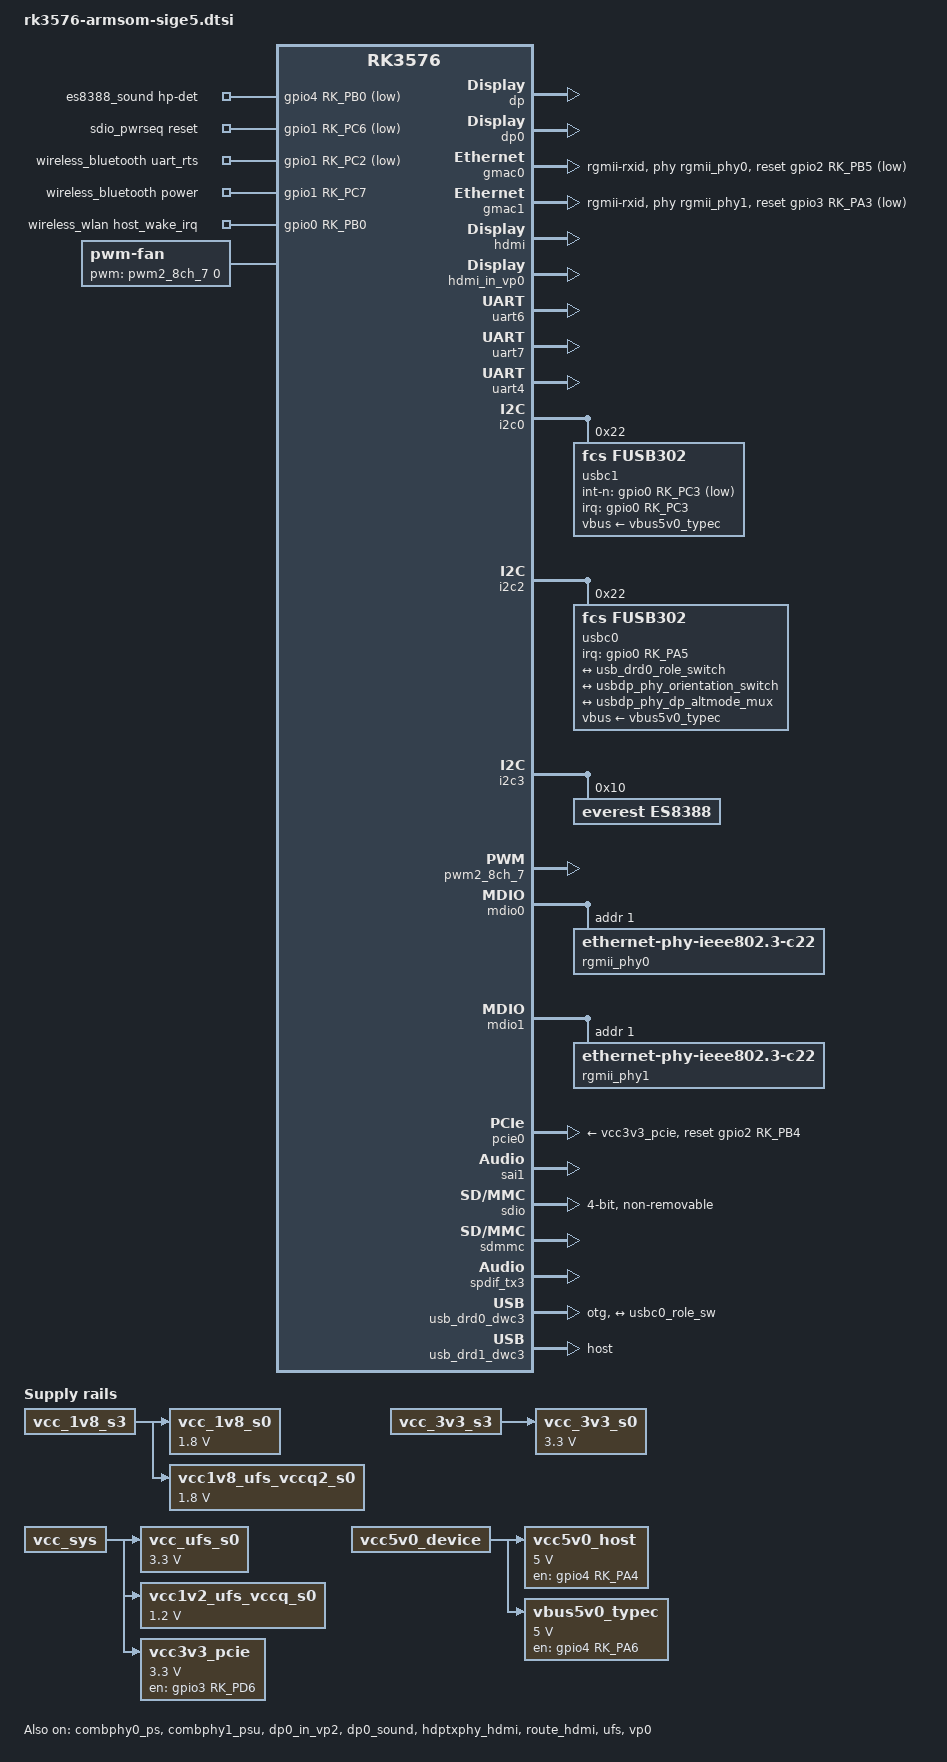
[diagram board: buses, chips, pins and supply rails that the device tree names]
// SPDX-License-Identifier: (GPL-2.0+ OR MIT)
/*
 * Copyright (c) 2024 Rockchip Electronics Co., Ltd.
 *
 */

#include <dt-bindings/usb/pd.h>
#include <dt-bindings/leds/common.h>
#include "rk3576.dtsi"
#include "rk3576-evb.dtsi"
#include "rk3576-rk806.dtsi"

/ {
	es8388_sound: es8388-sound {
		status = "okay";
		compatible = "rockchip,multicodecs-card";
		rockchip,card-name = "rockchip-es8388";
		hp-det-gpio = <&gpio4 RK_PB0 GPIO_ACTIVE_LOW>;
		// io-channels = <&saradc 3>;
		// io-channel-names = "adc-detect";
		// keyup-threshold-microvolt = <1800000>;
		// poll-interval = <100>;
		// spk-con-gpio = <&gpio2 RK_PB1 GPIO_ACTIVE_HIGH>;
		// hp-con-gpio = <&gpio3 RK_PD6 GPIO_ACTIVE_HIGH>;
		rockchip,pre-power-on-delay-ms = <30>;
		rockchip,post-power-down-delay-ms = <40>;
		rockchip,format = "i2s";
		rockchip,mclk-fs = <256>;
		rockchip,cpu = <&sai1>;
		rockchip,codec = <&es8388>;
		rockchip,audio-routing =
			"Headphone", "LOUT1",
			"Headphone", "ROUT1",
			"Speaker", "LOUT2",
			"Speaker", "ROUT2",
			"Headphone", "Headphone Power",
			"Headphone", "Headphone Power",
			"Speaker", "Speaker Power",
			"Speaker", "Speaker Power",
			"LINPUT1", "Main Mic",
			"LINPUT2", "Main Mic",
			"RINPUT1", "Headset Mic",
			"RINPUT2", "Headset Mic";
		pinctrl-names = "default";
		pinctrl-0 = <&hp_det>;
		play-pause-key {
			label = "playpause";
			linux,code = <KEY_PLAYPAUSE>;
			press-threshold-microvolt = <2000>;
		};
	};

	pdmics: dummy-codec {
		status = "disabled";
		compatible = "rockchip,dummy-codec";
		#sound-dai-cells = <0>;
	};

	pdm_mic_array: pdm-mic-array {
		status = "disabled";
		compatible = "simple-audio-card";
		simple-audio-card,name = "rockchip,pdm-mic-array";
		simple-audio-card,cpu {
			sound-dai = <&pdm1>;
		};
		simple-audio-card,codec {
			sound-dai = <&pdmics>;
		};
	};

	sdio_pwrseq: sdio-pwrseq {
		compatible = "mmc-pwrseq-simple";
		pinctrl-names = "default";
		pinctrl-0 = <&wifi_poweren_gpio>;

		/*
		 * On the module itself this is one of these (depending
		 * on the actual card populated):
		 * - SDIO_RESET_L_WL_REG_ON
		 * - PDN (power down when low)
		 */
		post-power-on-delay-ms = <200>;
		reset-gpios = <&gpio1 RK_PC6 GPIO_ACTIVE_LOW>;
		status = "okay";
	};

	vcc_1v8_s0: vcc-1v8-s0 {
		compatible = "regulator-fixed";
		regulator-name = "vcc_1v8_s0";
		regulator-boot-on;
		regulator-always-on;
		regulator-min-microvolt = <1800000>;
		regulator-max-microvolt = <1800000>;
		vin-supply = <&vcc_1v8_s3>;
	};

	vcc_3v3_s0: vcc-3v3-s0 {
		compatible = "regulator-fixed";
		regulator-name = "vcc_3v3_s0";
		regulator-boot-on;
		regulator-always-on;
		regulator-min-microvolt = <3300000>;
		regulator-max-microvolt = <3300000>;
		vin-supply = <&vcc_3v3_s3>;
	};

	vcc_ufs_s0: vcc-ufs-s0 {
		compatible = "regulator-fixed";
		regulator-name = "vcc_ufs_s0";
		regulator-boot-on;
		regulator-always-on;
		regulator-min-microvolt = <3300000>;
		regulator-max-microvolt = <3300000>;
		vin-supply = <&vcc_sys>;
	};

	vcc1v8_ufs_vccq2_s0: vcc1v8-ufs-vccq2-s0 {
		compatible = "regulator-fixed";
		regulator-name = "vcc1v8_ufs_vccq2_s0";
		regulator-boot-on;
		regulator-always-on;
		regulator-min-microvolt = <1800000>;
		regulator-max-microvolt = <1800000>;
		vin-supply = <&vcc_1v8_s3>;
	};

	vcc1v2_ufs_vccq_s0: vcc1v2-ufs-vccq-s0 {
		compatible = "regulator-fixed";
		regulator-name = "vcc1v2_ufs_vccq_s0";
		regulator-boot-on;
		regulator-always-on;
		regulator-min-microvolt = <1200000>;
		regulator-max-microvolt = <1200000>;
		vin-supply = <&vcc_sys>;
	};

	vcc3v3_pcie: gpio-regulator {
		compatible = "regulator-fixed";
		regulator-name = "vcc3v3_pcie";
		regulator-min-microvolt = <3300000>;
		regulator-max-microvolt = <3300000>;
		enable-active-high;
		gpio = <&gpio3 RK_PD6 GPIO_ACTIVE_HIGH>;
		startup-delay-us = <5000>;
		vin-supply = <&vcc_sys>;
	};

	vcc5v0_host: vcc5v0-host {
		compatible = "regulator-fixed";
		regulator-name = "vcc5v0_host";
		regulator-boot-on;
		regulator-always-on;
		regulator-min-microvolt = <5000000>;
		regulator-max-microvolt = <5000000>;
		enable-active-high;
		gpio = <&gpio4 RK_PA4 GPIO_ACTIVE_HIGH>;
		vin-supply = <&vcc5v0_device>;
		pinctrl-names = "default";
		pinctrl-0 = <&usb_host_pwren>;
	};

	vbus5v0_typec: vbus5v0-typec {
		compatible = "regulator-fixed";
		regulator-name = "vbus5v0_typec";
		regulator-min-microvolt = <5000000>;
		regulator-max-microvolt = <5000000>;
		enable-active-high;
		gpio = <&gpio4 RK_PA6 GPIO_ACTIVE_HIGH>;
		vin-supply = <&vcc5v0_device>;
		pinctrl-names = "default";
		pinctrl-0 = <&usb_otg0_pwren>;
	};

    wireless_bluetooth: wireless-bluetooth {
		compatible = "bluetooth-platdata";
		//wifi-bt-power-toggle;
		uart_rts_gpios = <&gpio1 RK_PC2 GPIO_ACTIVE_LOW>;
		pinctrl-names = "default", "rts_gpio";
		pinctrl-0 = <&uart4m1_rtsn>;
		pinctrl-1 = <&uart4m1_rts_gpio>;
		BT,power_gpio = <&gpio1 RK_PC7 GPIO_ACTIVE_HIGH>;
		//BT,reset_gpio    = <&gpio3 RK_PC3 GPIO_ACTIVE_HIGH>;
		//BT,wake_host_irq = <&gpio1 RK_PC2 GPIO_ACTIVE_HIGH>;
		status = "okay";
	};

	wireless_wlan: wireless-wlan {
		compatible = "wlan-platdata";
		wifi_chip_type = "ap6275s";
        clocks = <&hym8563>; //如果使用hym8563，只能配置一个
        clock-names = "ext_clock";
		pinctrl-names = "default";
		pinctrl-0 = <&wifi_host_wake_irq>;
		WIFI,host_wake_irq = <&gpio0 RK_PB0 GPIO_ACTIVE_HIGH>;
		status = "okay";
	};
	
	// leds {
	// 	compatible = "gpio-leds";

	// 	led_green: led-0 {
	// 		color = <LED_COLOR_ID_GREEN>;
	// 		function = LED_FUNCTION_STATUS;
	// 		gpios = <&gpio4 RK_PB2 GPIO_ACTIVE_HIGH>;
			
	// 		linux,default-trigger = "heartbeat";
	// 	};

	// 	led_red: led-1 {
	// 		color = <LED_COLOR_ID_RED>;
	// 		function = LED_FUNCTION_STATUS;
	// 		gpios = <&gpio4 RK_PB1 GPIO_ACTIVE_HIGH>;
	// 		linux,default-trigger = "none";
	// 	};
	// };

	fan: pwm-fan {
		compatible = "pwm-fan";
		#cooling-cells = <2>;
		pwms = <&pwm2_8ch_7 0 50000 0>;
		cooling-levels = <0 50 100 150 200 255>;
		rockchip,temp-trips = <
			50000	1
			55000	2
			60000	3
			65000	4
			70000	5
		>;
	};
};

&combphy0_ps {
	status = "okay";
};

&combphy1_psu {
	status = "okay";
};

&dp {
	status = "okay";
};

&dp0 {
	status = "okay";
};

&dp0_in_vp2 {
	status = "okay";
};

&dp0_sound {
	status = "okay";
};

&gmac0 {
	/* Use rgmii-rxid mode to disable rx delay inside Soc */
	phy-mode = "rgmii-rxid";
	clock_in_out = "output";

	snps,reset-gpio = <&gpio2 RK_PB5 GPIO_ACTIVE_LOW>;
	snps,reset-active-low;
	/* Reset time is 20ms, 100ms for rtl8211f */
	snps,reset-delays-us = <0 20000 100000>;

	pinctrl-names = "default";
	pinctrl-0 = <&eth0m0_miim
		     &eth0m0_tx_bus2
		     &eth0m0_rx_bus2
		     &eth0m0_rgmii_clk
		     &eth0m0_rgmii_bus
		     &ethm0_clk0_25m_out>;

	tx_delay = <0x1b>;
	/* rx_delay = <0x3f>; */

	phy-handle = <&rgmii_phy0>;
	status = "okay";
};

&gmac1 {
	/* Use rgmii-rxid mode to disable rx delay inside Soc */
	phy-mode = "rgmii-rxid";
	clock_in_out = "output";

	snps,reset-gpio = <&gpio3 RK_PA3 GPIO_ACTIVE_LOW>;
	snps,reset-active-low;
	/* Reset time is 20ms, 100ms for rtl8211f */
	snps,reset-delays-us = <0 20000 100000>;

	pinctrl-names = "default";
	pinctrl-0 = <&eth1m0_miim
		     &eth1m0_tx_bus2
		     &eth1m0_rx_bus2
		     &eth1m0_rgmii_clk
		     &eth1m0_rgmii_bus
		     &ethm0_clk1_25m_out>;

	tx_delay = <0x1a>;
	/* rx_delay = <0x3f>; */

	phy-handle = <&rgmii_phy1>;
	status = "okay";
};

&hdmi {
	status = "okay";
	enable-gpios = <&gpio2 RK_PB0 GPIO_ACTIVE_HIGH>;
	rockchip,sda-falling-delay-ns = <360>;
};

&hdmi_in_vp0 {
	status = "okay";
};

&hdptxphy_hdmi {
	status = "okay";
};

&uart6 {
	pinctrl-names = "default";
	pinctrl-0 = <&uart6m3_xfer>;
	status = "okay";
};

&uart7 {
	pinctrl-names = "default";
	pinctrl-0 = <&uart7m0_xfer>;
	status = "okay";
};

&uart4 {
	status = "okay";
	pinctrl-names = "default";
	pinctrl-0 = <&uart4m1_xfer &uart4m1_ctsn>;
};

&i2c0 {
	status = "okay";
	pinctrl-0 = <&i2c0m1_xfer>;
	usbc1: fusb302@22 {
		compatible = "fcs,fusb302";
		reg = <0x22>;
		interrupt-parent = <&gpio0>;
		interrupts = <RK_PC3 IRQ_TYPE_LEVEL_LOW>;
		int-n-gpios = <&gpio0 RK_PC3 GPIO_ACTIVE_LOW>;
		pinctrl-names = "default";
		pinctrl-0 = <&usbc1_int>;
		//vbus-supply = <&vcc12v_dcin>;
		vbus-supply = <&vbus5v0_typec>;
		status = "okay";
		usb_con1: connector {
			compatible = "usb-c-connector";
			label = "USB-C";
			data-role = "dual";
			power-role = "dual";
			try-power-role = "sink";
			op-sink-microwatt = <1000000>;
			sink-pdos =
				<PDO_FIXED(5000, 3000, PDO_FIXED_USB_COMM)
				 PDO_FIXED(9000, 3000, PDO_FIXED_USB_COMM)
				 PDO_FIXED(12000, 3000, PDO_FIXED_USB_COMM)>;
			source-pdos =
				<PDO_FIXED(5000, 3000, PDO_FIXED_USB_COMM)>;

			altmodes {
				#address-cells = <1>;
				#size-cells = <0>;

				altmode@0 {
					reg = <0>;
					svid = <0xff01>;
					vdo = <0xffffffff>;
				};
			};
		};
	};
};

&i2c2 {
	status = "okay";

	usbc0: fusb302@22 {
		compatible = "fcs,fusb302";
		reg = <0x22>;
		interrupt-parent = <&gpio0>;
		interrupts = <RK_PA5 IRQ_TYPE_LEVEL_LOW>;
		pinctrl-names = "default";
		pinctrl-0 = <&usbc0_int>;
		vbus-supply = <&vbus5v0_typec>;
		status = "okay";

		port {
			usbc0_role_sw: endpoint {
				remote-endpoint = <&usb_drd0_role_switch>;
			};
		};

		usb_con: connector {
			compatible = "usb-c-connector";
			label = "USB-C";
			data-role = "dual";
			power-role = "dual";
			try-power-role = "sink";
			op-sink-microwatt = <1000000>;
			sink-pdos =
				<PDO_FIXED(5000, 1000, PDO_FIXED_USB_COMM)>;
			source-pdos =
				<PDO_FIXED(5000, 3000, PDO_FIXED_USB_COMM)>;

			altmodes {
				#address-cells = <1>;
				#size-cells = <0>;

				altmode@0 {
					reg = <0>;
					svid = <0xff01>;
					vdo = <0xffffffff>;
				};
			};

			ports {
				#address-cells = <1>;
				#size-cells = <0>;

				port@0 {
					reg = <0>;
					usbc0_orien_sw: endpoint {
						remote-endpoint = <&usbdp_phy_orientation_switch>;
					};
				};

				port@1 {
					reg = <1>;
					dp_altmode_mux: endpoint {
						remote-endpoint = <&usbdp_phy_dp_altmode_mux>;
					};
				};
			};
		};
	};
};

&i2c3 {
	status = "okay";
	es8388: es8388@10 {
		status = "okay";
		#sound-dai-cells = <0>;
		compatible = "everest,es8388", "everest,es8323";
		reg = <0x10>;
		clocks = <&mclkout_sai1>;
		clock-names = "mclk";
		assigned-clocks = <&mclkout_sai1>;
		assigned-clock-rates = <12288000>;
		pinctrl-names = "default";
		pinctrl-0 = <&sai1m0_mclk>;
	};
};

&pwm2_8ch_7 {
	status = "okay";
	pinctrl-0 = <&pwm2m3_ch7>;
};

&mdio0 {
	rgmii_phy0: phy@1 {
		compatible = "ethernet-phy-ieee802.3-c22";
		reg = <0x1>;
		clocks = <&cru REFCLKO25M_GMAC0_OUT>;
	};
};

&mdio1 {
	rgmii_phy1: phy@1 {
		compatible = "ethernet-phy-ieee802.3-c22";
		reg = <0x1>;
		clocks = <&cru REFCLKO25M_GMAC1_OUT>;
	};
};

&pcie0 {
	reset-gpios = <&gpio2 RK_PB4 GPIO_ACTIVE_HIGH>;
	vpcie3v3-supply = <&vcc3v3_pcie>;
	status = "okay";
};

// &pdm1 {
// 	status = "disabled";
// 	pinctrl-names = "default";
// 	pinctrl-0 = <&pdm1m1_clk0
// 		     &pdm1m1_clk1
// 		     &pdm1m1_sdi0
// 		     &pdm1m1_sdi1
// 		     &pdm1m1_sdi2
// 		     &pdm1m1_sdi3>;
// };

&pinctrl {
	headphone {
		hp_det: hp-det {
			rockchip,pins = <0 RK_PD3 RK_FUNC_GPIO &pcfg_pull_up>;
		};
	};

	usb {
		usb_host_pwren: usb-host-pwren {
			rockchip,pins = <4 RK_PA4 RK_FUNC_GPIO &pcfg_pull_none>;
		};

		usb_otg0_pwren: usb-otg0-pwren {
			rockchip,pins = <4 RK_PA6 RK_FUNC_GPIO &pcfg_pull_none>;
		};

		usbc0_int: usbc0-int {
			rockchip,pins = <0 RK_PA5 RK_FUNC_GPIO &pcfg_pull_up>;
		};
		usbc1_int: usbc1-int {
			rockchip,pins = <0 RK_PC3 RK_FUNC_GPIO &pcfg_pull_up>;
		};
	};

	wireless-bluetooth {
		uart4m1_rts_gpio: uart4m1-rts-gpio {
			rockchip,pins = <1 RK_PC2 RK_FUNC_GPIO &pcfg_pull_none>;
		};
	};

	wireless-wlan {
		wifi_host_wake_irq: wifi-host-wake-irq {
			rockchip,pins = <0 RK_PB0 RK_FUNC_GPIO &pcfg_pull_down>;
		};

		wifi_poweren_gpio: wifi-poweren-gpio {
			rockchip,pins = <1 RK_PC6 RK_FUNC_GPIO &pcfg_pull_none>;
		};
	};

	leds {
		led_rgb_r: led-red-en {
			rockchip,pins = <4 RK_PB1 RK_FUNC_GPIO &pcfg_pull_none>;
		};
		led_rgb_g: led-green-en {
			rockchip,pins = <4 RK_PB2 RK_FUNC_GPIO &pcfg_pull_none>;
		};
	};
};

&route_hdmi {
	status = "okay";
	connect = <&vp0_out_hdmi>;
};

&sai1 {
	status = "okay";
	pinctrl-names = "default";
	pinctrl-0 = <&sai1m0_lrck
		     &sai1m0_sclk
		     &sai1m0_sdi0
		     &sai1m0_sdo0>;
};

&sdio {
	max-frequency = <100000000>;
	no-sd;
	no-mmc;
	bus-width = <4>;
	disable-wp;
	cap-sd-highspeed;
	cap-sdio-irq;
	keep-power-in-suspend;
	mmc-pwrseq = <&sdio_pwrseq>;
	non-removable;
	pinctrl-names = "default";
	pinctrl-0 = <&sdmmc1m0_bus4 &sdmmc1m0_clk &sdmmc1m0_cmd>;
	sd-uhs-sdr50;
    sd-uhs-sdr104;
	status = "okay";
};

&sdmmc {
	status = "okay";
};

&spdif_tx3 {
	status = "okay";
};

&ufs {
	status = "okay";
};

&u2phy0_otg {
	rockchip,typec-vbus-det;
};

&u2phy1_otg {
	phy-supply = <&vcc5v0_host>;
};

&usbdp_phy {
	orientation-switch;
	svid = <0xff01>;
	sbu1-dc-gpios = <&gpio2 RK_PA6 GPIO_ACTIVE_HIGH>;
	sbu2-dc-gpios = <&gpio2 RK_PA7 GPIO_ACTIVE_HIGH>;

	port {
		#address-cells = <1>;
		#size-cells = <0>;

		usbdp_phy_orientation_switch: endpoint@0 {
			reg = <0>;
			remote-endpoint = <&usbc0_orien_sw>;
		};

		usbdp_phy_dp_altmode_mux: endpoint@1 {
			reg = <1>;
			remote-endpoint = <&dp_altmode_mux>;
		};
	};
};

&usb_drd0_dwc3 {
	dr_mode = "otg";
	usb-role-switch;
	port {
		usb_drd0_role_switch: endpoint {
			remote-endpoint = <&usbc0_role_sw>;
		};
	};
};

&usb_drd1_dwc3 {
	dr_mode = "host";
	status = "okay";
};

&vp0 {
	status = "okay";
};
